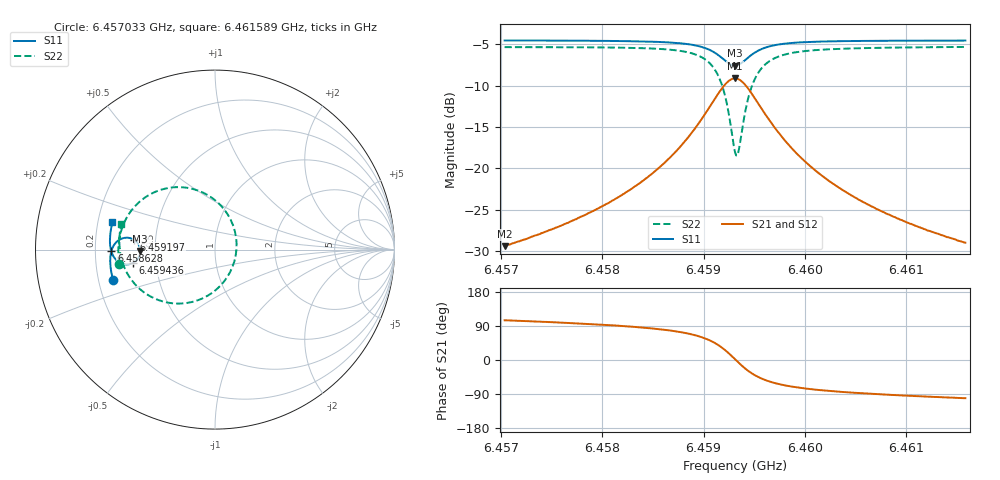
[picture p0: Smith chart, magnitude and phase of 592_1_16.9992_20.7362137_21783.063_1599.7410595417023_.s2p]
#  HZ  S  RI  R  50.00
! Rohde & Schwarz Vector Network Analyzer
! Rohde-Schwarz,ZNB20-2Port,1311601062101988,3.16
! Created: UTC 3/20/2024, 11:18:39 PM
! freq[Hz]  re:S11  im:S11  re:S21  im:S21  re:S12  im:S12  re:S22  im:S22
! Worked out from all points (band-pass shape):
!   401 points, 6.457033 GHz to 6.461589 GHz, reference 50 ohm
!   highest |S21| = -9.13 dB at 6.459311 GHz (marker M1); lowest = -29.4 dB at 6.457033 GHz (marker M2)
!   |S21| within 3 dB of the highest: 6.459084 GHz to 6.459539 GHz (455.3 kHz wide, 0.00705 % of centre)
!   lowest |S11| = -7.6 dB at 6.459311 GHz (marker M3), VSWR 2.43, Z = 20.6 - j0.413 ohm
!   |S11| at or under -10 dB: nowhere
!   |S22| runs from -18.4 to -5.3 dB; largest |S21 - S12| = 0.014
!   S11 on the Smith chart (normalised r, x): 6.457033 GHz: 0.26, -0.14; 6.458628 GHz: 0.27, -0.01; 6.459197 GHz: 0.38, +0.05; 6.459436 GHz: 0.37, -0.07; 6.461589 GHz: 0.26, +0.12
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6.4570327e9  -0.5679 -0.1679  -0.00869 0.0328  -0.00697 0.0328  -0.5338 -0.0798
6.457796e9  -0.5813 -0.1009  -0.00521 0.051  -0.00277 0.0504  -0.5383 0.0104
6.4581719e9  -0.5839 -0.0633  -0.000188 0.0678  0.003 0.0666  -0.5314 0.0694
6.4585592e9  -0.5798 -0.0174  0.0149 0.0997  0.019 0.0969  -0.5033 0.1558
6.4586275e9  -0.5775 -0.00788  0.0203 0.1081  0.0246 0.1049  -0.4931 0.176
6.4588212e9  -0.5647 0.0225  0.0473 0.1392  0.0514 0.1342  -0.4424 0.2453
6.4589693e9  -0.5416 0.0488  0.0932 0.1698  0.0964 0.1631  -0.3576 0.3098
6.4591059e9  -0.4974 0.0662  0.1812 0.1862  0.1822 0.1788  -0.1966 0.3481
6.4591971e9  -0.4524 0.0556  0.272 0.1542  0.2723 0.1483  -0.0282 0.2962
6.4592654e9  -0.4232 0.023  0.3328 0.0814  0.3351 0.0761  0.0881 0.1647
6.459311e9  -0.4163 -0.00829  0.3493 0.0126  0.353 0.00568  0.1202 0.0359
6.4593452e9  -0.4204 -0.0323  0.3431 -0.0404  0.3471 -0.0495  0.1081 -0.0648
6.4593907e9  -0.4361 -0.0586  0.3139 -0.1007  0.3164 -0.1128  0.0491 -0.1792
6.4594363e9  -0.4585 -0.0751  0.2714 -0.1421  0.2705 -0.1556  -0.0375 -0.2549
6.4595274e9  -0.5024 -0.0819  0.1855 -0.1733  0.1791 -0.1849  -0.2089 -0.3007
6.4595958e9  -0.5268 -0.0747  0.1366 -0.1711  0.1284 -0.18  -0.3033 -0.285
6.4596755e9  -0.5466 -0.0614  0.0967 -0.1588  0.0879 -0.1651  -0.3785 -0.2496
6.4598464e9  -0.5692 -0.0316  0.0492 -0.1284  0.0416 -0.1311  -0.463 -0.1718
6.4600742e9  -0.581 0.00208  0.0221 -0.0984  0.0162 -0.099  -0.5075 -0.0929
6.4604159e9  -0.5855 0.0429  0.00604 -0.0712  0.00196 -0.0707  -0.5289 -0.0134
6.4608374e9  -0.5835 0.0854  -0.00159 -0.0525  -0.00452 -0.0516  -0.5329 0.0549
6.4615892e9  -0.5714 0.1522  -0.00672 -0.0349  -0.00834 -0.0339  -0.5214 0.1443
